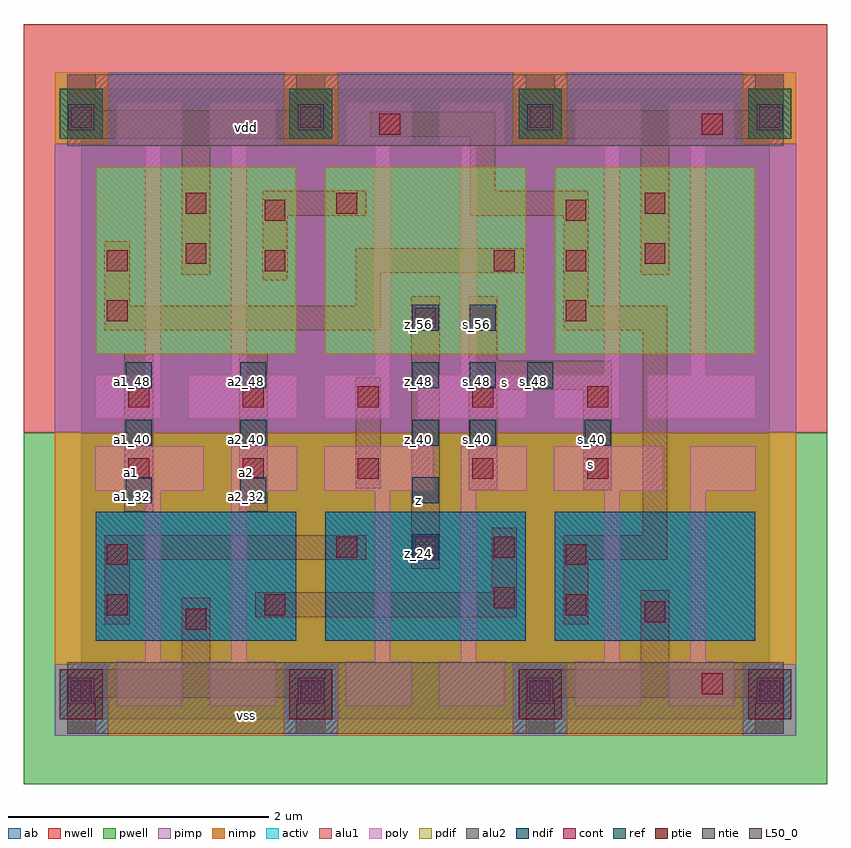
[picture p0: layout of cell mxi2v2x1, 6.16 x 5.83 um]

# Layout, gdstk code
import gdstk
lib = gdstk.Library(unit=1e-6, precision=2.5e-09)
def R(c, l, rs):  # rectangles x0, y0, x1, y1
    for r in rs: c.add(gdstk.rectangle(r[:2], r[2:], *l))
def A(c, l, x, y, w, h, nx, ny, dx, dy):  # array of equal rectangles
    R(c, l, [(x+i*dx, y+j*dy, x+i*dx+w, y+j*dy+h) for i in range(nx) for j in range(ny)])
ndif = (3, 0)
pdif = (4, 0)
ntie = (5, 0)
ptie = (6, 0)
ref = (24, 0)
cont = (25, 0)
pwell = (41, 0)
nwell = (42, 0)
activ = (43, 0)
pimp = (44, 0)
nimp = (45, 0)
poly = (46, 0)
alu1 = (49, 0)
L50_0 = (50, 0)
alu2 = (51, 0)
ab = (63, 0)

mxi2v2x1 = lib.new_cell('mxi2v2x1')
A(mxi2v2x1, ndif, 0.11, 0.605, 1.54, 0.99, 3, 1, 1.76, 0)
A(mxi2v2x1, pdif, 0.11, 2.805, 1.54, 1.43, 3, 1, 1.76, 0)
A(mxi2v2x1, ntie, -0.165, 4.455, 0.33, 0.385, 4, 1, 1.76, 0)
A(mxi2v2x1, ptie, -0.165, 0, 0.33, 0.385, 4, 1, 1.76, 0)
A(mxi2v2x1, ref, 2.54, 1.22, 0.2, 0.2, 1, 3, 0, 0.44)
A(mxi2v2x1, ref, 0.34, 1.66, 0.2, 0.2, 1, 3, 0, 0.44)
A(mxi2v2x1, ref, 1.22, 1.66, 0.2, 0.2, 1, 3, 0, 0.44)
A(mxi2v2x1, ref, 2.54, 2.54, 0.2, 0.2, 3, 1, 0.44, 0)
R(mxi2v2x1, ref, [(2.98,2.1,3.18,2.3), (3.86,2.1,4.06,2.3), (2.54,2.98,2.74,3.18), (2.98,2.98,3.18,3.18)])
A(mxi2v2x1, cont, -0.08, 0.14, 0.16, 0.16, 4, 2, 1.76, 4.4)
A(mxi2v2x1, cont, 1.955, 1.24, 0.16, 0.16, 3, 1, 0.605, 0)
A(mxi2v2x1, cont, 0.36, 1.845, 0.16, 0.16, 5, 2, 0.88, 0.55)
A(mxi2v2x1, cont, 3.715, 3.055, 0.16, 0.16, 1, 3, 0, 0.385)
R(mxi2v2x1, cont, [(4.76,0.195,4.92,0.355), (0.8,0.69,0.96,0.85), (4.32,0.745,4.48,0.905), (0.195,0.8,0.355,0.96), (1.405,0.8,1.565,0.96), (3.715,0.8,3.875,0.96), (3.165,0.855,3.325,1.015), (0.195,1.185,0.355,1.345), (3.715,1.185,3.875,1.345), (2.56,3,2.72,3.16), (0.195,3.055,0.355,3.215), (0.195,3.44,0.355,3.6), (1.405,3.44,1.565,3.6), (3.165,3.44,3.325,3.6), (0.8,3.495,0.96,3.655), (4.32,3.495,4.48,3.655), (1.405,3.825,1.565,3.985), (0.8,3.88,0.96,4.04), (1.955,3.88,2.115,4.04), (4.32,3.88,4.48,4.04), (2.285,4.485,2.445,4.645), (4.76,4.485,4.92,4.645)])
R(mxi2v2x1, pwell, [(-0.44,-0.495,5.72,2.2)])
R(mxi2v2x1, nwell, [(-0.44,2.2,5.72,5.335)])
A(mxi2v2x1, activ, -0.165, 0, 0.33, 0.385, 4, 2, 1.76, 4.455)
A(mxi2v2x1, activ, 0.11, 0.605, 1.54, 0.99, 3, 1, 1.76, 0)
A(mxi2v2x1, activ, 0.11, 2.805, 1.54, 1.43, 3, 1, 1.76, 0)
A(mxi2v2x1, pimp, -0.205, -0.125, 0.41, 0.55, 4, 1, 1.76, 0)
A(mxi2v2x1, pimp, 0.205, 4.415, 1.35, 0.55, 3, 1, 1.76, 0)
R(mxi2v2x1, pimp, [(-0.205,2.2,5.485,4.415)])
A(mxi2v2x1, nimp, 0.205, -0.125, 1.35, 0.55, 3, 1, 1.76, 0)
A(mxi2v2x1, nimp, -0.205, 4.415, 0.41, 0.55, 4, 1, 1.76, 0)
R(mxi2v2x1, nimp, [(-0.205,0.425,5.485,2.2)])
A(mxi2v2x1, poly, 0.105, 1.755, 0.835, 0.34, 3, 1, 1.76, 0)
A(mxi2v2x1, poly, 1.15, 1.755, 0.505, 0.34, 3, 1, 1.76, 0)
A(mxi2v2x1, poly, 0.105, 2.305, 0.505, 0.34, 3, 1, 1.76, 0)
A(mxi2v2x1, poly, 0.82, 2.305, 0.835, 0.34, 3, 1, 1.76, 0)
R(mxi2v2x1, poly, [(0.27,0.105,0.775,0.445), (0.985,0.105,1.49,0.445), (2.03,0.105,2.535,0.445), (2.745,0.105,3.25,0.445), (3.79,0.105,4.295,0.445), (4.505,0.105,5.01,0.445), (0.49,0.445,0.61,1.755), (1.15,0.445,1.27,1.755), (2.25,0.445,2.37,1.755), (2.91,0.445,3.03,1.755), (4.01,0.445,4.13,1.755), (4.67,0.445,4.79,1.755), (0.49,2.645,0.61,4.395), (1.15,2.645,1.27,4.395), (2.25,2.645,2.37,4.395), (2.91,2.645,3.03,4.395), (4.01,2.645,4.13,4.395), (4.67,2.645,4.79,4.395), (0.27,4.395,0.775,4.735), (0.985,4.395,1.49,4.735), (2.03,4.395,2.535,4.735), (2.745,4.395,3.25,4.735), (3.79,4.395,4.295,4.735), (4.505,4.395,5.01,4.735)])
A(mxi2v2x1, alu1, -0.11, -0.11, 0.22, 0.275, 4, 2, 1.76, 4.785)
R(mxi2v2x1, alu1, [(-0.11,0.165,1.87,0.385), (3.41,0.165,5.39,0.385), (0.77,0.385,0.99,0.935), (4.29,0.385,4.51,0.99), (0.18,0.73,0.37,1.225), (3.7,0.73,3.89,1.225), (1.335,0.785,3.34,0.975), (3.15,0.975,3.34,1.47), (2.53,1.155,2.75,3.245), (0.18,1.225,2.185,1.415), (3.7,1.225,4.495,1.415), (4.305,1.415,4.495,2.985), (0.33,1.595,0.55,2.805), (1.21,1.595,1.43,2.805), (2.97,1.76,3.19,2.53), (3.85,1.76,4.07,2.53), (2.105,1.775,2.295,2.625), (2.97,2.53,4.07,2.75), (2.97,2.75,3.19,3.245), (0.18,2.985,2.295,3.175), (3.7,2.985,4.495,3.175), (0.18,3.175,0.37,3.67), (2.105,3.175,2.295,3.425), (3.7,3.175,3.89,3.865), (1.39,3.37,1.58,3.865), (0.77,3.41,0.99,4.455), (4.29,3.41,4.51,4.455), (2.105,3.425,3.395,3.615), (1.39,3.865,2.185,4.055), (2.985,3.865,3.89,4.055), (2.985,4.055,3.175,4.47), (-0.11,4.455,1.87,4.675), (3.41,4.455,5.39,4.675), (2.215,4.47,3.175,4.66)])
A(mxi2v2x1, L50_0, -0.1, 0.12, 0.2, 0.2, 4, 2, 1.76, 4.4)
R(mxi2v2x1, alu2, [(-0.11,-0.11,5.39,0.44), (-0.11,4.4,5.39,4.95)])
R(mxi2v2x1, ab, [(0,0,5.28,4.84)])
mxi2v2x1.add(gdstk.Label('s', (3.905,1.9525), layer=49, texttype=0))
mxi2v2x1.add(gdstk.Label('s', (3.245,2.585), layer=49, texttype=0))
mxi2v2x1.add(gdstk.Label('z', (2.585,1.6775), layer=49, texttype=0))
mxi2v2x1.add(gdstk.Label('a2', (1.265,1.8975), layer=49, texttype=0))
mxi2v2x1.add(gdstk.Label('a1', (0.385,1.8975), layer=49, texttype=0))
mxi2v2x1.add(gdstk.Label('vss', (1.265,0.0275), layer=51, texttype=0))
mxi2v2x1.add(gdstk.Label('vdd', (1.265,4.5375), layer=51, texttype=0))
mxi2v2x1.add(gdstk.Label('s_56', (3.03,3.03), layer=24, texttype=0))
mxi2v2x1.add(gdstk.Label('s_48', (3.03,2.59), layer=24, texttype=0))
mxi2v2x1.add(gdstk.Label('s_48', (3.47,2.59), layer=24, texttype=0))
mxi2v2x1.add(gdstk.Label('s_40', (3.03,2.15), layer=24, texttype=0))
mxi2v2x1.add(gdstk.Label('s_40', (3.91,2.15), layer=24, texttype=0))
mxi2v2x1.add(gdstk.Label('z_56', (2.59,3.03), layer=24, texttype=0))
mxi2v2x1.add(gdstk.Label('z_40', (2.59,2.15), layer=24, texttype=0))
mxi2v2x1.add(gdstk.Label('z_32', (2.59,1.71), layer=24, texttype=0))
mxi2v2x1.add(gdstk.Label('z_24', (2.59,1.27), layer=24, texttype=0))
mxi2v2x1.add(gdstk.Label('a1_40', (0.39,2.15), layer=24, texttype=0))
mxi2v2x1.add(gdstk.Label('a1_32', (0.39,1.71), layer=24, texttype=0))
mxi2v2x1.add(gdstk.Label('a1_48', (0.39,2.59), layer=24, texttype=0))
mxi2v2x1.add(gdstk.Label('a2_48', (1.27,2.59), layer=24, texttype=0))
mxi2v2x1.add(gdstk.Label('a2_40', (1.27,2.15), layer=24, texttype=0))
mxi2v2x1.add(gdstk.Label('a2_32', (1.27,1.71), layer=24, texttype=0))
mxi2v2x1.add(gdstk.Label('z_48', (2.59,2.59), layer=24, texttype=0))

lib.write_gds('mxi2v2x1.gds')
